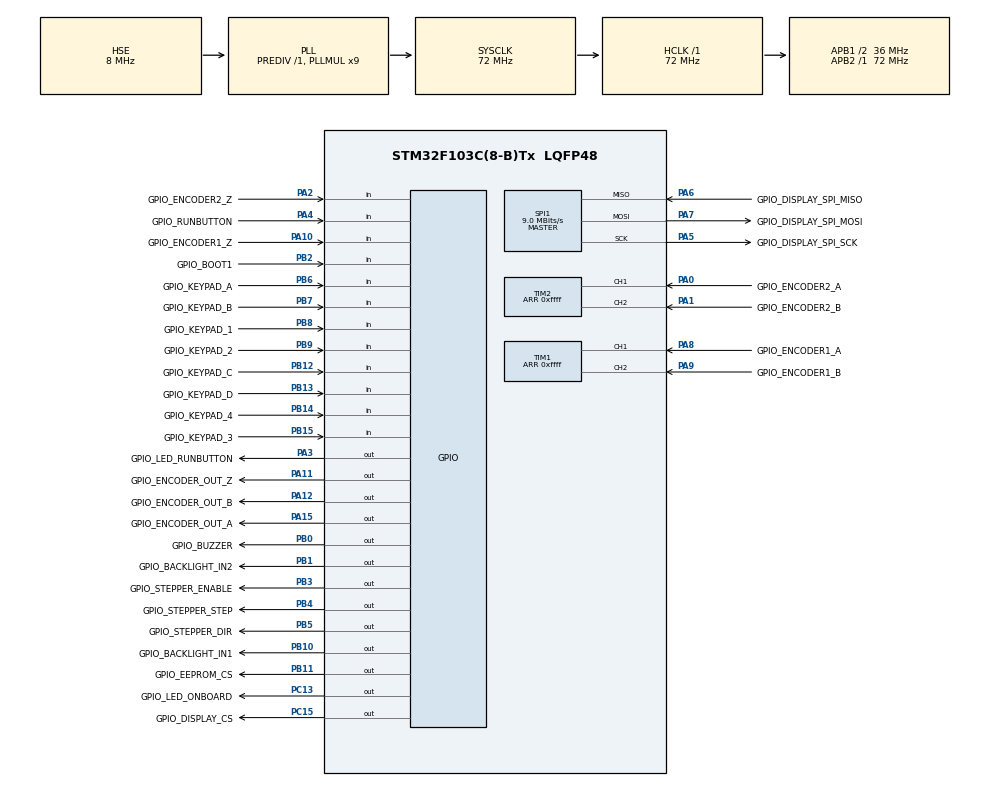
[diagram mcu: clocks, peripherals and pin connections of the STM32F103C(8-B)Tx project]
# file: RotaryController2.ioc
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Dma.Request0=SPI1_TX
Dma.SPI1_TX.0.Direction=DMA_MEMORY_TO_PERIPH
Dma.SPI1_TX.0.Instance=DMA1_Channel3
Dma.SPI1_TX.0.MemDataAlignment=DMA_MDATAALIGN_BYTE
Dma.SPI1_TX.0.MemInc=DMA_MINC_ENABLE
Dma.SPI1_TX.0.Mode=DMA_NORMAL
Dma.SPI1_TX.0.PeriphDataAlignment=DMA_PDATAALIGN_BYTE
Dma.SPI1_TX.0.PeriphInc=DMA_PINC_DISABLE
Dma.SPI1_TX.0.Priority=DMA_PRIORITY_LOW
Mcu.Family=STM32F1
Mcu.Name=STM32F103C(8-B)Tx
Mcu.Package=LQFP48
NVIC.DMA1_Channel3_IRQn=true\:0\:0\:false\:false\:true\:false
NVIC.PriorityGroup=NVIC_PRIORITYGROUP_4
NVIC.SPI1_IRQn=true\:0\:0\:false\:false\:true\:true
NVIC.TIM3_IRQn=true\:0\:0\:false\:false\:true\:true
PA0-WKUP.GPIO_Label=GPIO_ENCODER2_A
PA0-WKUP.GPIO_PuPd=GPIO_NOPULL
PA0-WKUP.Signal=S_TIM2_CH1_ETR
PA1.GPIO_Label=GPIO_ENCODER2_B
PA1.GPIO_PuPd=GPIO_NOPULL
PA1.Signal=S_TIM2_CH2
PA10.GPIO_Label=GPIO_ENCODER1_Z
PA10.Signal=GPIO_Input
PA11.GPIO_Label=GPIO_ENCODER_OUT_Z
PA11.Signal=GPIO_Output
PA12.GPIO_Label=GPIO_ENCODER_OUT_B
PA12.Signal=GPIO_Output
PA13.Mode=Serial_Wire
PA13.Signal=SYS_JTMS-SWDIO
PA14.Mode=Serial_Wire
PA14.Signal=SYS_JTCK-SWCLK
PA15.GPIO_Label=GPIO_ENCODER_OUT_A
PA15.Signal=GPIO_Output
PA2.GPIO_Label=GPIO_ENCODER2_Z
PA2.Signal=GPIO_Input
PA3.GPIO_Label=GPIO_LED_RUNBUTTON
PA3.Signal=GPIO_Output
PA4.GPIO_Label=GPIO_RUNBUTTON
PA4.GPIO_PuPd=GPIO_PULLUP
PA4.Signal=GPIO_Input
PA5.GPIO_Label=GPIO_DISPLAY_SPI_SCK
PA5.Mode=Full_Duplex_Master
PA5.Signal=SPI1_SCK
PA6.GPIO_Label=GPIO_DISPLAY_SPI_MISO
PA6.Mode=Full_Duplex_Master
PA6.Signal=SPI1_MISO
PA7.GPIO_Label=GPIO_DISPLAY_SPI_MOSI
PA7.Mode=Full_Duplex_Master
PA7.Signal=SPI1_MOSI
PA8.GPIO_Label=GPIO_ENCODER1_A
PA8.Signal=S_TIM1_CH1
PA9.GPIO_Label=GPIO_ENCODER1_B
PA9.Signal=S_TIM1_CH2
PB0.GPIO_Label=GPIO_BUZZER
PB0.Signal=GPIO_Output
PB1.GPIO_Label=GPIO_BACKLIGHT_IN2
PB1.Signal=GPIO_Output
PB10.GPIO_Label=GPIO_BACKLIGHT_IN1
PB10.Signal=GPIO_Output
PB11.GPIO_Label=GPIO_EEPROM_CS
PB11.GPIO_Speed=GPIO_SPEED_FREQ_MEDIUM
PB11.PinState=GPIO_PIN_SET
PB11.Signal=GPIO_Output
PB12.GPIO_Label=GPIO_KEYPAD_C
PB12.GPIO_PuPd=GPIO_NOPULL
PB12.Signal=GPIO_Input
PB13.GPIO_Label=GPIO_KEYPAD_D
PB13.GPIO_PuPd=GPIO_NOPULL
PB13.Signal=GPIO_Input
PB14.GPIO_Label=GPIO_KEYPAD_4
PB14.GPIO_PuPd=GPIO_PULLUP
PB14.Signal=GPIO_Input
PB15.GPIO_Label=GPIO_KEYPAD_3
PB15.GPIO_PuPd=GPIO_PULLUP
PB15.Signal=GPIO_Input
PB2.GPIO_Label=GPIO_BOOT1
PB2.Signal=GPIO_Input
PB3.GPIO_Label=GPIO_STEPPER_ENABLE
PB3.GPIO_ModeDefaultOutputPP=GPIO_MODE_OUTPUT_PP
PB3.GPIO_Speed=GPIO_SPEED_FREQ_MEDIUM
PB3.Signal=GPIO_Output
PB4.GPIO_Label=GPIO_STEPPER_STEP
PB4.GPIO_Speed=GPIO_SPEED_FREQ_MEDIUM
PB4.Signal=GPIO_Output
PB5.GPIO_Label=GPIO_STEPPER_DIR
PB5.GPIO_Speed=GPIO_SPEED_FREQ_MEDIUM
PB5.Signal=GPIO_Output
PB6.GPIO_Label=GPIO_KEYPAD_A
PB6.Signal=GPIO_Input
PB7.GPIO_Label=GPIO_KEYPAD_B
PB7.Signal=GPIO_Input
PB8.GPIO_Label=GPIO_KEYPAD_1
PB8.GPIO_PuPd=GPIO_PULLUP
PB8.Signal=GPIO_Input
PB9.GPIO_Label=GPIO_KEYPAD_2
PB9.GPIO_PuPd=GPIO_PULLUP
PB9.Signal=GPIO_Input
PC13-TAMPER-RTC.GPIO_Label=GPIO_LED_ONBOARD
PC13-TAMPER-RTC.Signal=GPIO_Output
PC15-OSC32_OUT.GPIO_Label=GPIO_DISPLAY_CS
PC15-OSC32_OUT.GPIO_Speed=GPIO_SPEED_FREQ_MEDIUM
PC15-OSC32_OUT.PinState=GPIO_PIN_RESET
PC15-OSC32_OUT.Signal=GPIO_Output
PD0-OSC_IN.Mode=HSE-External-Oscillator
PD0-OSC_IN.Signal=RCC_OSC_IN
PD1-OSC_OUT.Mode=HSE-External-Oscillator
PD1-OSC_OUT.Signal=RCC_OSC_OUT
ProjectManager.HeapSize=0x200
ProjectManager.StackSize=0x400
ProjectManager.TargetToolchain=Other Toolchains (GPDSC)
RCC.AHBFreq_Value=72000000
RCC.APB1CLKDivider=RCC_HCLK_DIV2
RCC.APB1Freq_Value=36000000
RCC.APB1TimFreq_Value=72000000
RCC.APB2Freq_Value=72000000
RCC.APB2TimFreq_Value=72000000
RCC.HCLKFreq_Value=72000000
RCC.PLLMUL=RCC_PLL_MUL9
RCC.PLLSourceVirtual=RCC_PLLSOURCE_HSE
RCC.SYSCLKFreq_VALUE=72000000
RCC.SYSCLKSource=RCC_SYSCLKSOURCE_PLLCLK
RCC.USBFreq_Value=72000000
SH.S_TIM1_CH1.0=TIM1_CH1,Encoder_Interface
SH.S_TIM1_CH2.0=TIM1_CH2,Encoder_Interface
SH.S_TIM2_CH1_ETR.0=TIM2_CH1,Encoder_Interface
SH.S_TIM2_CH2.0=TIM2_CH2,Encoder_Interface
SPI1.BaudRatePrescaler=SPI_BAUDRATEPRESCALER_8
SPI1.CLKPhase=SPI_PHASE_2EDGE
SPI1.CLKPolarity=SPI_POLARITY_HIGH
SPI1.CalculateBaudRate=9.0 MBits/s
SPI1.DataSize=SPI_DATASIZE_8BIT
SPI1.Direction=SPI_DIRECTION_2LINES
SPI1.FirstBit=SPI_FIRSTBIT_LSB
SPI1.Mode=SPI_MODE_MASTER
SPI1.VirtualType=VM_MASTER
TIM1.EncoderMode=TIM_ENCODERMODE_TI12
TIM1.IC1Filter=5
TIM1.IC2Filter=5
TIM1.Period=0xffff
TIM2.EncoderMode=TIM_ENCODERMODE_TI12
TIM2.IC1Filter=5
TIM2.IC2Filter=5
TIM2.Period=0xffff
TIM3.AutoReloadPreload=TIM_AUTORELOAD_PRELOAD_ENABLE
TIM3.Channel-Output\ Compare1\ No\ Output=TIM_CHANNEL_1
TIM3.Period=0xffff
TIM3.Prescaler=36
TIM3.Pulse-Output\ Compare1\ No\ Output=0xffff
VP_CRC_VS_CRC.Mode=CRC_Activate
VP_TIM3_VS_ClockSourceINT.Mode=Internal
VP_TIM3_VS_no_output1.Mode=Output Compare1 No Output
board=custom

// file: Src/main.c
/* USER CODE BEGIN Header */
/**
  ******************************************************************************
  * @file           : main.c
  * @brief          : Main program body
  ******************************************************************************
  ** This notice applies to any and all portions of this file
  * that are not between comment pairs USER CODE BEGIN and
  * USER CODE END. Other portions of this file, whether
  * inserted by the user or by software development tools
  * are owned by their respective copyright owners.
  *
  * COPYRIGHT(c) 2019 STMicroelectronics
  *
  * Redistribution and use in source and binary forms, with or without modification,
  * are permitted provided that the following conditions are met:
  *   1. Redistributions of source code must retain the above copyright notice,
  *      this list of conditions and the following disclaimer.
  *   2. Redistributions in binary form must reproduce the above copyright notice,
  *      this list of conditions and the following disclaimer in the documentation
  *      and/or other materials provided with the distribution.
  *   3. Neither the name of STMicroelectronics nor the names of its contributors
  *      may be used to endorse or promote products derived from this software
  *      without specific prior written permission.
  *
  * THIS SOFTWARE IS PROVIDED BY THE COPYRIGHT HOLDERS AND CONTRIBUTORS "AS IS"
  * AND ANY EXPRESS OR IMPLIED WARRANTIES, INCLUDING, BUT NOT LIMITED TO, THE
  * IMPLIED WARRANTIES OF MERCHANTABILITY AND FITNESS FOR A PARTICULAR PURPOSE ARE
  * DISCLAIMED. IN NO EVENT SHALL THE COPYRIGHT HOLDER OR CONTRIBUTORS BE LIABLE
  * FOR ANY DIRECT, INDIRECT, INCIDENTAL, SPECIAL, EXEMPLARY, OR CONSEQUENTIAL
  * DAMAGES (INCLUDING, BUT NOT LIMITED TO, PROCUREMENT OF SUBSTITUTE GOODS OR
  * SERVICES; LOSS OF USE, DATA, OR PROFITS; OR BUSINESS INTERRUPTION) HOWEVER
  * CAUSED AND ON ANY THEORY OF LIABILITY, WHETHER IN CONTRACT, STRICT LIABILITY,
  * OR TORT (INCLUDING NEGLIGENCE OR OTHERWISE) ARISING IN ANY WAY OUT OF THE USE
  * OF THIS SOFTWARE, EVEN IF ADVISED OF THE POSSIBILITY OF SUCH DAMAGE.
  *
  ******************************************************************************
  */
/* USER CODE END Header */

#include "main.h"

/* USER CODE BEGIN Includes */
#include "dwt_stm32_delay.h"
#include "rotarycontroller.h"
/* USER CODE END Includes */

CRC_HandleTypeDef hcrc;

SPI_HandleTypeDef hspi1;
DMA_HandleTypeDef hdma_spi1_tx;

TIM_HandleTypeDef htim1;
TIM_HandleTypeDef htim2;
TIM_HandleTypeDef htim3;

void SystemClock_Config(void);
static void MX_GPIO_Init(void);
static void MX_DMA_Init(void);
static void MX_SPI1_Init(void);
static void MX_CRC_Init(void);
static void MX_TIM3_Init(void);
static void MX_TIM2_Init(void);
static void MX_TIM1_Init(void);

int main(void)
{

  /* MCU Configuration--------------------------------------------------------*/

  /* Reset of all peripherals, Initializes the Flash interface and the Systick. */
  HAL_Init();

  /* USER CODE BEGIN Init */
  HAL_PWR_DisableWakeUpPin(PWR_WAKEUP_PIN1);

  /* USER CODE END Init */

  /* Configure the system clock */
  SystemClock_Config();

  /* Initialize all configured peripherals */
  MX_GPIO_Init();
  MX_DMA_Init();
  MX_SPI1_Init();
  MX_CRC_Init();
  MX_TIM3_Init();
  MX_TIM2_Init();
  MX_TIM1_Init();
  /* USER CODE BEGIN 2 */
  DWT_Delay_Init();
  /* USER CODE END 2 */

  /* Infinite loop */
  /* USER CODE BEGIN WHILE */
  RotaryController rc;
  rc.Init();
  rc.Run();

    /* USER CODE END WHILE */

}

void SystemClock_Config(void)
{
  RCC_OscInitTypeDef RCC_OscInitStruct = {0};
  RCC_ClkInitTypeDef RCC_ClkInitStruct = {0};

  /**Initializes the CPU, AHB and APB busses clocks
  */
  RCC_OscInitStruct.OscillatorType = RCC_OSCILLATORTYPE_HSE;
  RCC_OscInitStruct.HSEState = RCC_HSE_ON;
  RCC_OscInitStruct.HSEPredivValue = RCC_HSE_PREDIV_DIV1;
  RCC_OscInitStruct.HSIState = RCC_HSI_ON;
  RCC_OscInitStruct.PLL.PLLState = RCC_PLL_ON;
  RCC_OscInitStruct.PLL.PLLSource = RCC_PLLSOURCE_HSE;
  RCC_OscInitStruct.PLL.PLLMUL = RCC_PLL_MUL9;
  if (HAL_RCC_OscConfig(&RCC_OscInitStruct) != HAL_OK)
  {
    Error_Handler();
  }
  /**Initializes the CPU, AHB and APB busses clocks
  */
  RCC_ClkInitStruct.ClockType = RCC_CLOCKTYPE_HCLK|RCC_CLOCKTYPE_SYSCLK
                              |RCC_CLOCKTYPE_PCLK1|RCC_CLOCKTYPE_PCLK2;
  RCC_ClkInitStruct.SYSCLKSource = RCC_SYSCLKSOURCE_PLLCLK;
  RCC_ClkInitStruct.AHBCLKDivider = RCC_SYSCLK_DIV1;
  RCC_ClkInitStruct.APB1CLKDivider = RCC_HCLK_DIV2;
  RCC_ClkInitStruct.APB2CLKDivider = RCC_HCLK_DIV1;

  if (HAL_RCC_ClockConfig(&RCC_ClkInitStruct, FLASH_LATENCY_2) != HAL_OK)
  {
    Error_Handler();
  }
}

static void MX_CRC_Init(void)
{

  hcrc.Instance = CRC;
  if (HAL_CRC_Init(&hcrc) != HAL_OK)
  {
    Error_Handler();
  }

}

static void MX_SPI1_Init(void)
{

  /* SPI1 parameter configuration*/
  hspi1.Instance = SPI1;
  hspi1.Init.Mode = SPI_MODE_MASTER;
  hspi1.Init.Direction = SPI_DIRECTION_2LINES;
  hspi1.Init.DataSize = SPI_DATASIZE_8BIT;
  hspi1.Init.CLKPolarity = SPI_POLARITY_HIGH;
  hspi1.Init.CLKPhase = SPI_PHASE_2EDGE;
  hspi1.Init.NSS = SPI_NSS_SOFT;
  hspi1.Init.BaudRatePrescaler = SPI_BAUDRATEPRESCALER_8;
  hspi1.Init.FirstBit = SPI_FIRSTBIT_LSB;
  hspi1.Init.TIMode = SPI_TIMODE_DISABLE;
  hspi1.Init.CRCCalculation = SPI_CRCCALCULATION_DISABLE;
  hspi1.Init.CRCPolynomial = 10;
  if (HAL_SPI_Init(&hspi1) != HAL_OK)
  {
    Error_Handler();
  }
  /* USER CODE BEGIN SPI1_Init 2 */
  hdma_spi1_tx.Instance = DMA1_Channel3;
  hdma_spi1_tx.Init.Direction = DMA_MEMORY_TO_PERIPH;
  hdma_spi1_tx.Init.PeriphInc = DMA_PINC_DISABLE;
  hdma_spi1_tx.Init.MemInc = DMA_MINC_ENABLE;
  hdma_spi1_tx.Init.PeriphDataAlignment = DMA_PDATAALIGN_BYTE;
  hdma_spi1_tx.Init.MemDataAlignment = DMA_MDATAALIGN_BYTE;
  hdma_spi1_tx.Init.Mode = DMA_NORMAL;
  hdma_spi1_tx.Init.Priority = DMA_PRIORITY_MEDIUM;

  if (HAL_DMA_Init(&hdma_spi1_tx) != HAL_OK)
  {

  }

  /* USER CODE END SPI1_Init 2 */

}

static void MX_TIM1_Init(void)
{

  TIM_Encoder_InitTypeDef sConfig = {0};
  TIM_MasterConfigTypeDef sMasterConfig = {0};

  htim1.Instance = TIM1;
  htim1.Init.Prescaler = 0;
  htim1.Init.CounterMode = TIM_COUNTERMODE_UP;
  htim1.Init.Period = 0xffff;
  htim1.Init.ClockDivision = TIM_CLOCKDIVISION_DIV1;
  htim1.Init.RepetitionCounter = 0;
  htim1.Init.AutoReloadPreload = TIM_AUTORELOAD_PRELOAD_DISABLE;
  sConfig.EncoderMode = TIM_ENCODERMODE_TI12;
  sConfig.IC1Polarity = TIM_ICPOLARITY_RISING;
  sConfig.IC1Selection = TIM_ICSELECTION_DIRECTTI;
  sConfig.IC1Prescaler = TIM_ICPSC_DIV1;
  sConfig.IC1Filter = 5;
  sConfig.IC2Polarity = TIM_ICPOLARITY_RISING;
  sConfig.IC2Selection = TIM_ICSELECTION_DIRECTTI;
  sConfig.IC2Prescaler = TIM_ICPSC_DIV1;
  sConfig.IC2Filter = 5;
  if (HAL_TIM_Encoder_Init(&htim1, &sConfig) != HAL_OK)
  {
    Error_Handler();
  }
  sMasterConfig.MasterOutputTrigger = TIM_TRGO_RESET;
  sMasterConfig.MasterSlaveMode = TIM_MASTERSLAVEMODE_DISABLE;
  if (HAL_TIMEx_MasterConfigSynchronization(&htim1, &sMasterConfig) != HAL_OK)
  {
    Error_Handler();
  }

}

static void MX_TIM2_Init(void)
{

  /* USER CODE BEGIN TIM2_Init 0 */
  GPIO_InitTypeDef GPIO_InitStruct = {0};

  /*Configure GPIO pin : GPIO_ENCODER2_?_Pin */
  GPIO_InitStruct.Pin = GPIO_ENCODER2_Z_Pin | GPIO_ENCODER2_A_Pin | GPIO_ENCODER2_B_Pin;
  GPIO_InitStruct.Mode = GPIO_MODE_INPUT;
  GPIO_InitStruct.Pull = GPIO_NOPULL;
  GPIO_InitStruct.Speed = GPIO_SPEED_FREQ_LOW;
  HAL_GPIO_Init(GPIO_ENCODER2_Z_GPIO_Port, &GPIO_InitStruct);

  /* USER CODE END TIM2_Init 0 */

  TIM_Encoder_InitTypeDef sConfig = {0};
  TIM_MasterConfigTypeDef sMasterConfig = {0};

  htim2.Instance = TIM2;
  htim2.Init.Prescaler = 0;
  htim2.Init.CounterMode = TIM_COUNTERMODE_UP;
  htim2.Init.Period = 0xffff;
  htim2.Init.ClockDivision = TIM_CLOCKDIVISION_DIV1;
  htim2.Init.AutoReloadPreload = TIM_AUTORELOAD_PRELOAD_DISABLE;
  sConfig.EncoderMode = TIM_ENCODERMODE_TI12;
  sConfig.IC1Polarity = TIM_ICPOLARITY_RISING;
  sConfig.IC1Selection = TIM_ICSELECTION_DIRECTTI;
  sConfig.IC1Prescaler = TIM_ICPSC_DIV1;
  sConfig.IC1Filter = 5;
  sConfig.IC2Polarity = TIM_ICPOLARITY_RISING;
  sConfig.IC2Selection = TIM_ICSELECTION_DIRECTTI;
  sConfig.IC2Prescaler = TIM_ICPSC_DIV1;
  sConfig.IC2Filter = 5;
  if (HAL_TIM_Encoder_Init(&htim2, &sConfig) != HAL_OK)
  {
    Error_Handler();
  }
  sMasterConfig.MasterOutputTrigger = TIM_TRGO_RESET;
  sMasterConfig.MasterSlaveMode = TIM_MASTERSLAVEMODE_DISABLE;
  if (HAL_TIMEx_MasterConfigSynchronization(&htim2, &sMasterConfig) != HAL_OK)
  {
    Error_Handler();
  }

}

static void MX_TIM3_Init(void)
{

  TIM_ClockConfigTypeDef sClockSourceConfig = {0};
  TIM_MasterConfigTypeDef sMasterConfig = {0};
  TIM_OC_InitTypeDef sConfigOC = {0};

  htim3.Instance = TIM3;
  htim3.Init.Prescaler = 36;
  htim3.Init.CounterMode = TIM_COUNTERMODE_UP;
  htim3.Init.Period = 0xffff;
  htim3.Init.ClockDivision = TIM_CLOCKDIVISION_DIV1;
  htim3.Init.AutoReloadPreload = TIM_AUTORELOAD_PRELOAD_ENABLE;
  if (HAL_TIM_Base_Init(&htim3) != HAL_OK)
  {
    Error_Handler();
  }
  sClockSourceConfig.ClockSource = TIM_CLOCKSOURCE_INTERNAL;
  if (HAL_TIM_ConfigClockSource(&htim3, &sClockSourceConfig) != HAL_OK)
  {
    Error_Handler();
  }
  if (HAL_TIM_OC_Init(&htim3) != HAL_OK)
  {
    Error_Handler();
  }
  sMasterConfig.MasterOutputTrigger = TIM_TRGO_RESET;
  sMasterConfig.MasterSlaveMode = TIM_MASTERSLAVEMODE_DISABLE;
  if (HAL_TIMEx_MasterConfigSynchronization(&htim3, &sMasterConfig) != HAL_OK)
  {
    Error_Handler();
  }
  sConfigOC.OCMode = TIM_OCMODE_TIMING;
  sConfigOC.Pulse = 0xffff;
  sConfigOC.OCPolarity = TIM_OCPOLARITY_HIGH;
  sConfigOC.OCFastMode = TIM_OCFAST_DISABLE;
  if (HAL_TIM_OC_ConfigChannel(&htim3, &sConfigOC, TIM_CHANNEL_1) != HAL_OK)
  {
    Error_Handler();
  }

}

static void MX_DMA_Init(void)
{
  /* DMA controller clock enable */
  __HAL_RCC_DMA1_CLK_ENABLE();

  /* DMA interrupt init */
  /* DMA1_Channel3_IRQn interrupt configuration */
  HAL_NVIC_SetPriority(DMA1_Channel3_IRQn, 0, 0);
  HAL_NVIC_EnableIRQ(DMA1_Channel3_IRQn);

}

static void MX_GPIO_Init(void)
{
  GPIO_InitTypeDef GPIO_InitStruct = {0};

  /* GPIO Ports Clock Enable */
  __HAL_RCC_GPIOC_CLK_ENABLE();
  __HAL_RCC_GPIOD_CLK_ENABLE();
  __HAL_RCC_GPIOA_CLK_ENABLE();
  __HAL_RCC_GPIOB_CLK_ENABLE();

  /*Configure GPIO pin Output Level */
  HAL_GPIO_WritePin(GPIOC, GPIO_LED_ONBOARD_Pin|GPIO_DISPLAY_CS_Pin, GPIO_PIN_RESET);

  /*Configure GPIO pin Output Level */
  HAL_GPIO_WritePin(GPIOA, GPIO_LED_RUNBUTTON_Pin|GPIO_ENCODER_OUT_Z_Pin|GPIO_ENCODER_OUT_B_Pin|GPIO_ENCODER_OUT_A_Pin, GPIO_PIN_RESET);

  /*Configure GPIO pin Output Level */
  HAL_GPIO_WritePin(GPIOB, GPIO_BUZZER_Pin|GPIO_BACKLIGHT_IN2_Pin|GPIO_BACKLIGHT_IN1_Pin|GPIO_STEPPER_ENABLE_Pin
                          |GPIO_STEPPER_STEP_Pin|GPIO_STEPPER_DIR_Pin, GPIO_PIN_RESET);

  /*Configure GPIO pin Output Level */
  HAL_GPIO_WritePin(GPIO_EEPROM_CS_GPIO_Port, GPIO_EEPROM_CS_Pin, GPIO_PIN_SET);

  /*Configure GPIO pin : GPIO_LED_ONBOARD_Pin */
  GPIO_InitStruct.Pin = GPIO_LED_ONBOARD_Pin;
  GPIO_InitStruct.Mode = GPIO_MODE_OUTPUT_PP;
  GPIO_InitStruct.Pull = GPIO_NOPULL;
  GPIO_InitStruct.Speed = GPIO_SPEED_FREQ_LOW;
  HAL_GPIO_Init(GPIO_LED_ONBOARD_GPIO_Port, &GPIO_InitStruct);

  /*Configure GPIO pin : GPIO_DISPLAY_CS_Pin */
  GPIO_InitStruct.Pin = GPIO_DISPLAY_CS_Pin;
  GPIO_InitStruct.Mode = GPIO_MODE_OUTPUT_PP;
  GPIO_InitStruct.Pull = GPIO_NOPULL;
  GPIO_InitStruct.Speed = GPIO_SPEED_FREQ_MEDIUM;
  HAL_GPIO_Init(GPIO_DISPLAY_CS_GPIO_Port, &GPIO_InitStruct);

  /*Configure GPIO pins : GPIO_ENCODER2_Z_Pin GPIO_ENCODER1_Z_Pin */
  GPIO_InitStruct.Pin = GPIO_ENCODER2_Z_Pin|GPIO_ENCODER1_Z_Pin;
  GPIO_InitStruct.Mode = GPIO_MODE_INPUT;
  GPIO_InitStruct.Pull = GPIO_NOPULL;
  HAL_GPIO_Init(GPIOA, &GPIO_InitStruct);

  /*Configure GPIO pins : GPIO_LED_RUNBUTTON_Pin GPIO_ENCODER_OUT_Z_Pin GPIO_ENCODER_OUT_B_Pin GPIO_ENCODER_OUT_A_Pin */
  GPIO_InitStruct.Pin = GPIO_LED_RUNBUTTON_Pin|GPIO_ENCODER_OUT_Z_Pin|GPIO_ENCODER_OUT_B_Pin|GPIO_ENCODER_OUT_A_Pin;
  GPIO_InitStruct.Mode = GPIO_MODE_OUTPUT_PP;
  GPIO_InitStruct.Pull = GPIO_NOPULL;
  GPIO_InitStruct.Speed = GPIO_SPEED_FREQ_LOW;
  HAL_GPIO_Init(GPIOA, &GPIO_InitStruct);

  /*Configure GPIO pin : GPIO_RUNBUTTON_Pin */
  GPIO_InitStruct.Pin = GPIO_RUNBUTTON_Pin;
  GPIO_InitStruct.Mode = GPIO_MODE_INPUT;
  GPIO_InitStruct.Pull = GPIO_PULLUP;
  HAL_GPIO_Init(GPIO_RUNBUTTON_GPIO_Port, &GPIO_InitStruct);

  /*Configure GPIO pins : GPIO_BUZZER_Pin GPIO_BACKLIGHT_IN2_Pin GPIO_BACKLIGHT_IN1_Pin */
  GPIO_InitStruct.Pin = GPIO_BUZZER_Pin|GPIO_BACKLIGHT_IN2_Pin|GPIO_BACKLIGHT_IN1_Pin;
  GPIO_InitStruct.Mode = GPIO_MODE_OUTPUT_PP;
  GPIO_InitStruct.Pull = GPIO_NOPULL;
  GPIO_InitStruct.Speed = GPIO_SPEED_FREQ_LOW;
  HAL_GPIO_Init(GPIOB, &GPIO_InitStruct);

  /*Configure GPIO pins : GPIO_BOOT1_Pin GPIO_KEYPAD_C_Pin GPIO_KEYPAD_D_Pin GPIO_KEYPAD_A_Pin
                           GPIO_KEYPAD_B_Pin */
  GPIO_InitStruct.Pin = GPIO_BOOT1_Pin|GPIO_KEYPAD_C_Pin|GPIO_KEYPAD_D_Pin|GPIO_KEYPAD_A_Pin
                          |GPIO_KEYPAD_B_Pin;
  GPIO_InitStruct.Mode = GPIO_MODE_INPUT;
  GPIO_InitStruct.Pull = GPIO_NOPULL;
  HAL_GPIO_Init(GPIOB, &GPIO_InitStruct);

  /*Configure GPIO pins : GPIO_EEPROM_CS_Pin GPIO_STEPPER_ENABLE_Pin GPIO_STEPPER_STEP_Pin GPIO_STEPPER_DIR_Pin */
  GPIO_InitStruct.Pin = GPIO_EEPROM_CS_Pin|GPIO_STEPPER_ENABLE_Pin|GPIO_STEPPER_STEP_Pin|GPIO_STEPPER_DIR_Pin;
  GPIO_InitStruct.Mode = GPIO_MODE_OUTPUT_PP;
  GPIO_InitStruct.Pull = GPIO_NOPULL;
  GPIO_InitStruct.Speed = GPIO_SPEED_FREQ_MEDIUM;
  HAL_GPIO_Init(GPIOB, &GPIO_InitStruct);

  /*Configure GPIO pins : GPIO_KEYPAD_4_Pin GPIO_KEYPAD_3_Pin GPIO_KEYPAD_1_Pin GPIO_KEYPAD_2_Pin */
  GPIO_InitStruct.Pin = GPIO_KEYPAD_4_Pin|GPIO_KEYPAD_3_Pin|GPIO_KEYPAD_1_Pin|GPIO_KEYPAD_2_Pin;
  GPIO_InitStruct.Mode = GPIO_MODE_INPUT;
  GPIO_InitStruct.Pull = GPIO_PULLUP;
  HAL_GPIO_Init(GPIOB, &GPIO_InitStruct);

}

/* USER CODE BEGIN 4 */
void SetDisplaySPI()
{
	MX_SPI1_Init();
}

// EEPROM SPI settings are different to the display - clk polarity, clock edge, MSB first, slower clock (max 2MHz)
void SetEEPROMSPI()
{
  hspi1.Init.Mode = SPI_MODE_MASTER;
  hspi1.Init.Direction = SPI_DIRECTION_2LINES;
  hspi1.Init.DataSize = SPI_DATASIZE_8BIT;
  hspi1.Init.CLKPolarity = SPI_POLARITY_LOW;
  hspi1.Init.CLKPhase = SPI_PHASE_1EDGE;
  hspi1.Init.NSS = SPI_NSS_SOFT;
  hspi1.Init.BaudRatePrescaler = SPI_BAUDRATEPRESCALER_64;
  hspi1.Init.FirstBit = SPI_FIRSTBIT_MSB;
  hspi1.Init.TIMode = SPI_TIMODE_DISABLE;
  hspi1.Init.CRCCalculation = SPI_CRCCALCULATION_DISABLE;
  hspi1.Init.CRCPolynomial = 10;
  if (HAL_SPI_Init(&hspi1) != HAL_OK)
  {
    Error_Handler();
  }
}

/* USER CODE END 4 */

void Error_Handler(void)
{
}

/************************ (C) COPYRIGHT STMicroelectronics *****END OF FILE****/
